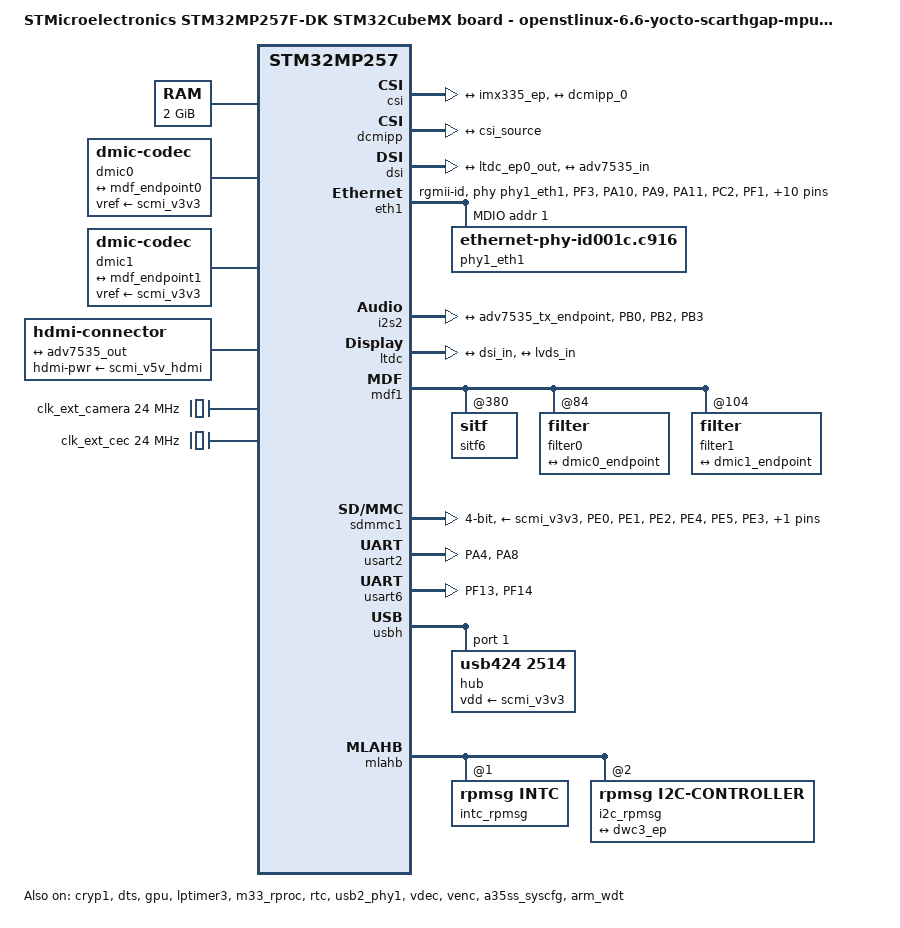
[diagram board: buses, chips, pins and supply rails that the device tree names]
// SPDX-License-Identifier: (GPL-2.0-only OR BSD-3-Clause)
/*
 * Copyright (C) 2026, STMicroelectronics - All Rights Reserved
 * Author: STM32CubeMX code generation for STMicroelectronics.
 */

/* For more information on Device Tree configuration, please refer to
 * https://wiki.st.com/stm32mpu/wiki/Category:Device_tree_configuration
 */

/dts-v1/;

#include <dt-bindings/pinctrl/stm32-pinfunc.h>
#include "stm32mp257.dtsi"
#include "stm32mp25xf.dtsi"
#include "stm32mp257f-devicetree-mx-resmem.dtsi"
#include "stm32mp25xxak-pinctrl.dtsi"

/* USER CODE BEGIN includes */
#include <dt-bindings/gpio/gpio.h>
#include <dt-bindings/input/input.h>
#include <dt-bindings/leds/common.h>
#include <dt-bindings/rtc/rtc-stm32.h>
#include "stm32mp25-pinctrl.dtsi"
/* USER CODE END includes */

/ {
	model = "STMicroelectronics STM32MP257F-DK STM32CubeMX board - openstlinux-6.6-yocto-scarthgap-mpu-v26.02.18";
	compatible = "st,stm32mp257f-devicetree-mx", "st,stm32mp257f-dk", "st,stm32mp257";

	memory@80000000 {
		device_type = "memory";
		reg = <0x0 0x80000000 0x0 0x80000000>;

		/* USER CODE BEGIN memory */
		/* USER CODE END memory */
	};

	/* USER CODE BEGIN root */

	aliases{
		serial0 = &usart2;
		serial1 = &usart6;
	};

	chosen{
		stdout-path = "serial1:115200n8";
		#address-cells = <2>;
		#size-cells = <2>;
		ranges;
	};

	dmic0:dmic-0{
		compatible = "dmic-codec";
		#sound-dai-cells = <1>;
		sound-name-prefix = "dmic0";
		vref-supply = <&scmi_v3v3>;
		status = "okay";

		port{

			dmic0_endpoint:endpoint{
				remote-endpoint = <&mdf_endpoint0>;
			};
		};
	};

	dmic1:dmic-1{
		compatible = "dmic-codec";
		#sound-dai-cells = <1>;
		sound-name-prefix = "dmic1";
		vref-supply = <&scmi_v3v3>;
		status = "okay";

		port{

			dmic1_endpoint:endpoint{
				remote-endpoint = <&mdf_endpoint1>;
			};
		};
	};

	hdmi:connector{
		compatible = "hdmi-connector";
		label = "hdmi";
		type = "a";
		hdmi-pwr-supply = <&scmi_v5v_hdmi>;

		port{

			hdmi_connector_in:endpoint{
				remote-endpoint = <&adv7535_out>;
			};
		};
	};

	sound{
		compatible = "audio-graph-card";
		label = "STM32MP25-DK";
		dais = <&i2s2_port &mdf1_port0 &mdf1_port1>;
		status = "okay";
	};

	/* USER CODE END root */

	clocks{

		/* USER CODE BEGIN clocks */

		clk_ext_camera:clk-ext-camera{
			#clock-cells = <0>;
			compatible = "fixed-clock";
			clock-frequency = <24000000>;
		};

		clk_ext_cec:clk-ext-cec{
			#clock-cells = <0>;
			compatible = "fixed-clock";
			clock-frequency = <24000000>;
		};
		/* USER CODE END clocks */
	};

}; /*root*/

&pinctrl {

	eth1_clk_pins_mx: eth1_clk_mx-0 {
		pins {
			pinmux = <STM32_PINMUX('F', 3, AF9)>; /* ETH1_CLK */
			bias-disable;
			drive-push-pull;
			slew-rate = <1>;
		};
	};

	eth1_clk_sleep_pins_mx: eth1_clk_sleep_mx-0 {
		pins {
			pinmux = <STM32_PINMUX('F', 3, ANALOG)>; /* ETH1_CLK */
		};
	};

	eth1_mdio_pins_mx: eth1_mdio_mx-0 {
		pins1 {
			pinmux = <STM32_PINMUX('A', 10, AF10)>; /* ETH1_MDIO */
			bias-disable;
			drive-push-pull;
			slew-rate = <0>;
			st,io-clk-edge = <0>;
			st,io-retime = <0>;
			st,io-delay-path = <0>;
			st,io-delay = <0>;
		};
		pins2 {
			pinmux = <STM32_PINMUX('A', 9, AF10)>; /* ETH1_MDC */
			bias-disable;
			drive-push-pull;
			slew-rate = <2>;
			st,io-clk-edge = <0>;
			st,io-retime = <0>;
			st,io-delay-path = <0>;
			st,io-delay = <0>;
		};
	};

	eth1_mdio_sleep_pins_mx: eth1_mdio_sleep_mx-0 {
		pins {
			pinmux = <STM32_PINMUX('A', 9, ANALOG)>, /* ETH1_MDC */
					 <STM32_PINMUX('A', 10, ANALOG)>; /* ETH1_MDIO */
		};
	};

	eth1_rgmii_pins_mx: eth1_rgmii_mx-0 {
		pins1 {
			pinmux = <STM32_PINMUX('A', 11, AF10)>, /* ETH1_RGMII_RX_CTL */
					 <STM32_PINMUX('C', 2, AF10)>, /* ETH1_RGMII_RXD1 */
					 <STM32_PINMUX('F', 1, AF10)>, /* ETH1_RGMII_RXD0 */
					 <STM32_PINMUX('H', 12, AF10)>, /* ETH1_RGMII_RXD2 */
					 <STM32_PINMUX('H', 13, AF10)>; /* ETH1_RGMII_RXD3 */
			bias-disable;
			drive-push-pull;
			st,io-clk-edge = <1>;
			st,io-retime = <1>;
			st,io-delay-path = <0>;
			st,io-delay = <0>;
		};
		pins2 {
			pinmux = <STM32_PINMUX('A', 13, AF10)>, /* ETH1_RGMII_TX_CTL */
					 <STM32_PINMUX('A', 15, AF10)>, /* ETH1_RGMII_TXD0 */
					 <STM32_PINMUX('C', 1, AF10)>, /* ETH1_RGMII_TXD1 */
					 <STM32_PINMUX('H', 10, AF10)>, /* ETH1_RGMII_TXD2 */
					 <STM32_PINMUX('H', 11, AF10)>; /* ETH1_RGMII_TXD3 */
			bias-disable;
			drive-push-pull;
			slew-rate = <3>;
			st,io-clk-edge = <1>;
			st,io-retime = <1>;
			st,io-delay-path = <0>;
			st,io-delay = <0>;
		};
		pins3 {
			pinmux = <STM32_PINMUX('A', 14, AF10)>; /* ETH1_RGMII_RX_CLK */
			bias-disable;
			drive-push-pull;
			slew-rate = <0>;
			st,io-clk-edge = <0>;
			st,io-retime = <0>;
			st,io-delay-path = <0>;
			st,io-delay = <0>;
		};
		pins4 {
			pinmux = <STM32_PINMUX('C', 0, AF12)>; /* ETH1_RGMII_GTX_CLK */
			bias-disable;
			drive-push-pull;
			slew-rate = <3>;
			st,io-clk-edge = <0>;
			st,io-retime = <0>;
			st,io-delay-path = <0>;
			st,io-delay = <0>;
		};
		pins5 {
			pinmux = <STM32_PINMUX('H', 9, AF10)>; /* ETH1_RGMII_CLK125 */
			bias-disable;
			drive-push-pull;
			slew-rate = <3>;
		};
	};

	eth1_rgmii_sleep_pins_mx: eth1_rgmii_sleep_mx-0 {
		pins {
			pinmux = <STM32_PINMUX('A', 11, ANALOG)>, /* ETH1_RGMII_RX_CTL */
					 <STM32_PINMUX('A', 13, ANALOG)>, /* ETH1_RGMII_TX_CTL */
					 <STM32_PINMUX('A', 14, ANALOG)>, /* ETH1_RGMII_RX_CLK */
					 <STM32_PINMUX('A', 15, ANALOG)>, /* ETH1_RGMII_TXD0 */
					 <STM32_PINMUX('C', 0, ANALOG)>, /* ETH1_RGMII_GTX_CLK */
					 <STM32_PINMUX('C', 1, ANALOG)>, /* ETH1_RGMII_TXD1 */
					 <STM32_PINMUX('C', 2, ANALOG)>, /* ETH1_RGMII_RXD1 */
					 <STM32_PINMUX('F', 1, ANALOG)>, /* ETH1_RGMII_RXD0 */
					 <STM32_PINMUX('H', 9, ANALOG)>, /* ETH1_RGMII_CLK125 */
					 <STM32_PINMUX('H', 10, ANALOG)>, /* ETH1_RGMII_TXD2 */
					 <STM32_PINMUX('H', 11, ANALOG)>, /* ETH1_RGMII_TXD3 */
					 <STM32_PINMUX('H', 12, ANALOG)>, /* ETH1_RGMII_RXD2 */
					 <STM32_PINMUX('H', 13, ANALOG)>; /* ETH1_RGMII_RXD3 */
		};
	};

	i2s2_pins_mx: i2s2_mx-0 {
		pins {
			pinmux = <STM32_PINMUX('B', 0, AF2)>, /* I2S2_CK */
					 <STM32_PINMUX('B', 2, AF2)>, /* I2S2_SDO */
					 <STM32_PINMUX('B', 3, AF2)>; /* I2S2_WS */
			bias-disable;
			drive-push-pull;
			slew-rate = <0>;
		};
	};

	i2s2_sleep_pins_mx: i2s2_sleep_mx-0 {
		pins {
			pinmux = <STM32_PINMUX('B', 0, ANALOG)>, /* I2S2_CK */
					 <STM32_PINMUX('B', 2, ANALOG)>, /* I2S2_SDO */
					 <STM32_PINMUX('B', 3, ANALOG)>; /* I2S2_WS */
		};
	};

	sdmmc1_pins_mx: sdmmc1_mx-0 {
		pins1 {
			pinmux = <STM32_PINMUX('E', 0, AF10)>, /* SDMMC1_D2 */
					 <STM32_PINMUX('E', 1, AF10)>, /* SDMMC1_D3 */
					 <STM32_PINMUX('E', 2, AF10)>, /* SDMMC1_CMD */
					 <STM32_PINMUX('E', 4, AF10)>, /* SDMMC1_D0 */
					 <STM32_PINMUX('E', 5, AF10)>; /* SDMMC1_D1 */
			bias-disable;
			drive-push-pull;
			slew-rate = <1>;
		};
		pins2 {
			pinmux = <STM32_PINMUX('E', 3, AF10)>; /* SDMMC1_CK */
			bias-disable;
			drive-push-pull;
			slew-rate = <2>;
		};
	};

	sdmmc1_opendrain_pins_mx: sdmmc1_opendrain_mx-0 {
		pins1 {
			pinmux = <STM32_PINMUX('E', 0, AF10)>, /* SDMMC1_D2 */
					 <STM32_PINMUX('E', 1, AF10)>, /* SDMMC1_D3 */
					 <STM32_PINMUX('E', 4, AF10)>, /* SDMMC1_D0 */
					 <STM32_PINMUX('E', 5, AF10)>; /* SDMMC1_D1 */
			bias-disable;
			drive-push-pull;
			slew-rate = <1>;
		};
		pins2 {
			pinmux = <STM32_PINMUX('E', 2, AF10)>; /* SDMMC1_CMD */
			bias-disable;
			drive-open-drain;
			slew-rate = <1>;
		};
		pins3 {
			pinmux = <STM32_PINMUX('E', 3, AF10)>; /* SDMMC1_CK */
			bias-disable;
			drive-push-pull;
			slew-rate = <2>;
		};
	};

	sdmmc1_sleep_pins_mx: sdmmc1_sleep_mx-0 {
		pins {
			pinmux = <STM32_PINMUX('E', 0, ANALOG)>, /* SDMMC1_D2 */
					 <STM32_PINMUX('E', 1, ANALOG)>, /* SDMMC1_D3 */
					 <STM32_PINMUX('E', 2, ANALOG)>, /* SDMMC1_CMD */
					 <STM32_PINMUX('E', 3, ANALOG)>, /* SDMMC1_CK */
					 <STM32_PINMUX('E', 4, ANALOG)>, /* SDMMC1_D0 */
					 <STM32_PINMUX('E', 5, ANALOG)>; /* SDMMC1_D1 */
		};
	};

	usart2_pins_mx: usart2_mx-0 {
		pins1 {
			pinmux = <STM32_PINMUX('A', 4, AF6)>; /* USART2_TX */
			bias-disable;
			drive-push-pull;
			slew-rate = <0>;
		};
		pins2 {
			pinmux = <STM32_PINMUX('A', 8, AF8)>; /* USART2_RX */
			bias-disable;
			drive-push-pull;
		};
	};

	usart2_idle_pins_mx: usart2_idle_mx-0 {
		pins1 {
			pinmux = <STM32_PINMUX('A', 4, ANALOG)>; /* USART2_TX */
		};
		pins2 {
			pinmux = <STM32_PINMUX('A', 8, AF8)>; /* USART2_RX */
			bias-disable;
			drive-push-pull;
		};
	};

	usart2_sleep_pins_mx: usart2_sleep_mx-0 {
		pins {
			pinmux = <STM32_PINMUX('A', 4, ANALOG)>, /* USART2_TX */
					 <STM32_PINMUX('A', 8, ANALOG)>; /* USART2_RX */
		};
	};

	usart6_pins_mx: usart6_mx-0 {
		pins1 {
			pinmux = <STM32_PINMUX('F', 13, AF3)>; /* USART6_TX */
			bias-disable;
			drive-push-pull;
			slew-rate = <0>;
		};
		pins2 {
			pinmux = <STM32_PINMUX('F', 14, AF3)>; /* USART6_RX */
			bias-disable;
			drive-push-pull;
		};
	};

	usart6_idle_pins_mx: usart6_idle_mx-0 {
		pins1 {
			pinmux = <STM32_PINMUX('F', 13, ANALOG)>; /* USART6_TX */
		};
		pins2 {
			pinmux = <STM32_PINMUX('F', 14, AF3)>; /* USART6_RX */
			bias-disable;
			drive-push-pull;
		};
	};

	usart6_sleep_pins_mx: usart6_sleep_mx-0 {
		pins {
			pinmux = <STM32_PINMUX('F', 13, ANALOG)>, /* USART6_TX */
					 <STM32_PINMUX('F', 14, ANALOG)>; /* USART6_RX */
		};
	};

	/* USER CODE BEGIN pinctrl */
	/* USER CODE END pinctrl */
};

&pinctrl_z {

	/* USER CODE BEGIN pinctrl_z */
	/* USER CODE END pinctrl_z */
};

&cryp1 {
	status = "okay";

	/* USER CODE BEGIN cryp1 */
	/* USER CODE END cryp1 */
};

&csi {
	status = "okay";

	/* USER CODE BEGIN csi */
	vdd-supply = <&scmi_vddcore>;
	vdda18-supply = <&scmi_v1v8>;

	ports{
		#address-cells = <1>;
		#size-cells = <0>;

		port@0{
			reg = <0>;

			csi_sink:endpoint{
				remote-endpoint = <&imx335_ep>;
				data-lanes = <1 2>;
				bus-type = <4>;
			};
		};

		port@1{
			reg = <1>;

			csi_source:endpoint{
				remote-endpoint = <&dcmipp_0>;
			};
		};
	};
	/* USER CODE END csi */
};

&dcmipp {
	status = "okay";

	/* USER CODE BEGIN dcmipp */

	port{

		dcmipp_0:endpoint{
			remote-endpoint = <&csi_source>;
			bus-type = <4>;
		};
	};
	/* USER CODE END dcmipp */
};

&dsi {
	status = "okay";

	/* USER CODE BEGIN dsi */
	vdd-supply = <&scmi_vddcore>;
	vdda18-supply = <&scmi_v1v8>;

	ports{
		#address-cells = <1>;
		#size-cells = <0>;

		port@0{
			reg = <0>;

			dsi_in:endpoint{
				remote-endpoint = <&ltdc_ep0_out>;
			};
		};

		port@1{
			reg = <1>;

			dsi_out1:endpoint{
				remote-endpoint = <&adv7535_in>;
			};
		};
	};
	/* USER CODE END dsi */
};

&dts {
	status = "okay";

	/* USER CODE BEGIN dts */
	/* USER CODE END dts */
};

&eth1 {
	pinctrl-names = "default", "sleep";
	pinctrl-0 = <&eth1_clk_pins_mx>, <&eth1_mdio_pins_mx>, <&eth1_rgmii_pins_mx>;
	pinctrl-1 = <&eth1_clk_sleep_pins_mx>, <&eth1_mdio_sleep_pins_mx>, <&eth1_rgmii_sleep_pins_mx>;
	status = "okay";

	/* USER CODE BEGIN eth1 */
	phy-mode = "rgmii-id";
	max-speed = <1000>;
	phy-handle = <&phy1_eth1>;
	st,eth-ptp-from-rcc;

	mdio1{
		#address-cells = <1>;
		#size-cells = <0>;
		compatible = "snps,dwmac-mdio";

		phy1_eth1:ethernet-phy@1{
			compatible = "ethernet-phy-id001c.c916";
			/*reset-gpios = <&gpioa 2 GPIO_ACTIVE_LOW>; EJ IMPLEMENTERAT */
			reset-assert-us = <10000>;
			reset-deassert-us = <80000>;
			realtek,eee-disable;
			reg = <1>;
		};
	};
	/* USER CODE END eth1 */
};

&gpu {
	status = "okay";

	/* USER CODE BEGIN gpu */
	contiguous-area = <&gpu_reserved>;
	/* USER CODE END gpu */
};

&hpdma {
	status = "okay";

	/* USER CODE BEGIN hpdma */
	memory-region = <&hpdma1_lli>;
	/* USER CODE END hpdma */
};

&hpdma2 {
	status = "okay";

	/* USER CODE BEGIN hpdma2 */
	memory-region = <&hpdma2_lli>;
	/* USER CODE END hpdma2 */
};

&hpdma3 {
	status = "okay";

	/* USER CODE BEGIN hpdma3 */
	memory-region = <&hpdma3_lli>;
	/* USER CODE END hpdma3 */
};

&i2s2 {
	pinctrl-names = "default", "sleep";
	pinctrl-0 = <&i2s2_pins_mx>;
	pinctrl-1 = <&i2s2_sleep_pins_mx>;
	status = "okay";

	/* USER CODE BEGIN i2s2 */

	i2s2_port:port{

		i2s2_endpoint:endpoint{
			remote-endpoint = <&adv7535_tx_endpoint>;
			format = "i2s";
			mclk-fs = <256>;
		};
	};
	/* USER CODE END i2s2 */
};

&ipcc1 {
	status = "okay";

	/* USER CODE BEGIN ipcc1 */
	/* USER CODE END ipcc1 */
};

&lptimer3 {
	status = "okay";

	/* USER CODE BEGIN lptimer3 */
	clocks = <&rcc CK_LPTIM3_AM>;

	timer{
		status = "okay";
	};
	/* USER CODE END lptimer3 */
};

&ltdc {
	status = "okay";

	/* USER CODE BEGIN ltdc */
	port{
		#address-cells = <1>;
		#size-cells = <0>;

		ltdc_ep0_out:endpoint@0{
			reg = <0>;
			remote-endpoint = <&dsi_in>;
		};

		ltdc_ep1_out:endpoint@1{
			reg = <1>;
			remote-endpoint = <&lvds_in>;
		};
	};
	/* USER CODE END ltdc */
};

&m33_rproc {
	status = "okay";

	/*Restriction: "memory-region" property is not managed - please to use User-Section if needed*/
	mboxes = <&ipcc1 0x100>, <&ipcc1 0x101>, <&ipcc1 2>;
	mbox-names = "vq0", "vq1", "shutdown";

	/* USER CODE BEGIN m33_rproc */
	compatible = "st,stm32mp2-m33-tee";
	memory-region = <&ipc_shmem_1>, <&vdev0vring0>,
			<&vdev0vring1>, <&vdev0buffer>,
			<&cm33_sram2>;
	/* USER CODE END m33_rproc */
};

&mdf1 {
	status = "okay";

	/* USER CODE BEGIN mdf1 */
	#clock-cells = <1>;
	clock-output-names = "cck0";
	clock-frequency = <1536000>;

	sitf6:sitf@380{
		pinctrl-names = "default", "sleep";
		pinctrl-0 = <&mdf_sdi6_pins_a>;
		pinctrl-1 = <&mdf_sdi6_sleep_pins_a>;
		st,sitf-mode = "spi";
		clocks = <&mdf1 0>;
		status = "okay";
	};

	filter0:filter@84{
		#address-cells = <1>;
		#size-cells = <0>;
		st,cic-mode = <4>;
		st,sitf = <&sitf6 0>;
		st,hpf-filter-cutoff-bp = <625>;
		status = "okay";

		channel@0{
			reg = <0>;
			label = "dmic_u53";
		};

		asoc_pdm0:mdf-dai{
			compatible = "st,stm32mp25-mdf-dai";
			#sound-dai-cells = <0>;
			io-channels = <&filter0 0>;
			power-domains = <&d1_pd>;
			status = "okay";

			mdf1_port0:port{

				mdf_endpoint0:endpoint{
					remote-endpoint = <&dmic0_endpoint>;
				};
			};
		};
	};

	filter1:filter@104{
		#address-cells = <1>;
		#size-cells = <0>;
		st,cic-mode = <4>;
		st,sitf = <&sitf6 1>;
		st,hpf-filter-cutoff-bp = <625>;
		status = "okay";

		channel@1{
			reg = <1>;
			label = "dmic_u12";
		};

		asoc_pdm1:mdf-dai{
			compatible = "st,stm32mp25-mdf-dai";
			#sound-dai-cells = <0>;
			io-channels = <&filter1 0>;
			power-domains = <&d1_pd>;
			status = "okay";

			mdf1_port1:port{

				mdf_endpoint1:endpoint{
					remote-endpoint = <&dmic1_endpoint>;
				};
			};
		};
	};
	/* USER CODE END mdf1 */
};

&rtc {
	status = "okay";

	/* USER CODE BEGIN rtc */
	#clock-cells = <0>;
	st,lsco = <RTC_OUT2_RMP>;
	/* USER CODE END rtc */
};

&sdmmc1 {
	pinctrl-names = "default", "opendrain", "sleep";
	pinctrl-0 = <&sdmmc1_pins_mx>;
	pinctrl-1 = <&sdmmc1_opendrain_pins_mx>;
	pinctrl-2 = <&sdmmc1_sleep_pins_mx>;
	status = "okay";

	/* USER CODE BEGIN sdmmc1 */
	cd-gpios = <&gpiod 3 (GPIO_ACTIVE_LOW | GPIO_PULL_UP)>;
	disable-wp;
	st,neg-edge;
	bus-width = <4>;
	vmmc-supply = <&scmi_v3v3>;
	vqmmc-supply = <&scmi_vddio1>;
	sd-uhs-sdr12;
	sd-uhs-sdr25;
	sd-uhs-sdr50;
	sd-uhs-ddr50;
	sd-uhs-sdr104;
	/* USER CODE END sdmmc1 */
};

&usart2 {
	pinctrl-names = "default", "idle", "sleep";
	pinctrl-0 = <&usart2_pins_mx>;
	pinctrl-1 = <&usart2_idle_pins_mx>;
	pinctrl-2 = <&usart2_sleep_pins_mx>;
	status = "okay";

	/* USER CODE BEGIN usart2 */
	/delete-property/ dmas;
	/delete-property/ dma-names;
	/* USER CODE END usart2 */
};

&usart6 {
	pinctrl-names = "default", "idle", "sleep";
	pinctrl-0 = <&usart6_pins_mx>;
	pinctrl-1 = <&usart6_idle_pins_mx>;
	pinctrl-2 = <&usart6_sleep_pins_mx>;
	status = "okay";

	/* USER CODE BEGIN usart6 */
    /delete-property/dmas;
	/delete-property/dma-names;
	/* USER CODE END usart6 */
};

&usb2_phy1 {
	status = "okay";

	/* USER CODE BEGIN usb2_phy1 */
	vdd33-supply = <&scmi_vdd3v3_usb>;
	/* USER CODE END usb2_phy1 */
};

&usbh {
	status = "okay";

	/* USER CODE BEGIN usbh */

	usbh_ehci:usb@482f0000{
		#address-cells = <1>;
		#size-cells = <0>;

		hub@1{
			compatible = "usb424,2514";
			reg = <1>;
			vdd-supply = <&scmi_v3v3>;
		};
	};
	/* USER CODE END usbh */
};

&vdec {
	status = "okay";

	/* USER CODE BEGIN vdec */
	/* USER CODE END vdec */
};

&venc {
	status = "okay";

	/* USER CODE BEGIN venc */
	/* USER CODE END venc */
};

/* USER CODE BEGIN addons */

&a35ss_syscfg {
	status = "okay";
};

&ahbsr {
	mbox_client: mailbox-client@1 {
		compatible = "mbox-cdev";
		reg = <1 0>;
		memory-region =  <&ipc_shmem_2>;
		mboxes = <&ipcc2 0x200>;
		mbox-names = "rx-tx";
		status = "okay";
	};
};

&arm_wdt {
	timeout-sec = <32>;
	status = "okay";
};

&ipcc2 {
	status = "okay";
};

&mlahb {

	intc_rpmsg:interrupt-controller@1{
		compatible = "rpmsg,intc";
		reg = <1 0>;
		#interrupt-cells = <1>;
		interrupt-controller;
	};

	i2c_rpmsg:i2c@2{
		compatible = "rpmsg,i2c-controller";
		reg = <2 0>;
		rpmsg,dev-id = "rpmsg_i2c";
		#address-cells = <1>;
		#size-cells = <0>;
		status = "okay";

		typec@35{
			compatible = "st,stm32mp25-typec";
			reg = <0x35>;
			interrupts-extended = <&intc_rpmsg 0>;
			status = "okay";

			connector{
				compatible = "usb-c-connector";
				label = "USB-C";

				port{

					typec_ep:endpoint{
						remote-endpoint = <&dwc3_ep>;
					};
				};
			};
		};
	};
};

&m0_rproc {
	memory-region = <&cm0_cube_fw>, <&cm0_cube_data>;
	clocks = <&rcc CK_CPU3>,
		 <&rcc CK_CPU3_AM>,
		 <&rcc CK_LPUART1_C3>,
		 <&rcc CK_KER_LPUART1>,
		 <&rcc CK_LPUART1_AM>,
		 <&rcc CK_GPIOZ_C3>,
		 <&scmi_clk CK_SCMI_GPIOZ>,
		 <&scmi_clk CK_SCMI_GPIOZ_AM>,
		 <&rcc CK_LPTIM4_C3>,
		 <&rcc CK_KER_LPTIM4>,
		 <&rcc CK_LPTIM4_AM>,
		 <&scmi_clk CK_SCMI_IPCC2>,
		 <&scmi_clk CK_SCMI_IPCC2_AM>;
	status = "disabled";
};

&scmi_regu {
	scmi_vddio1: regulator@0 {
		regulator-min-microvolt = <1800000>;
		regulator-max-microvolt = <3300000>;
	};
	scmi_vddcore: regulator@b {
		reg = <VOLTD_SCMI_STPMIC2_BUCK2>;
		regulator-name = "vddcore";
	};
	scmi_v1v8: regulator@e {
		reg = <VOLTD_SCMI_STPMIC2_BUCK5>;
		regulator-name = "v1v8";
	};
	scmi_v3v3: regulator@10 {
		reg = <VOLTD_SCMI_STPMIC2_BUCK7>;
		regulator-name = "v3v3";
	};
	scmi_vdd_emmc: regulator@12 {
		reg = <VOLTD_SCMI_STPMIC2_LDO2>;
		regulator-name = "vdd_emmc";
	};
	scmi_vdd3v3_usb: regulator@14 {
		reg = <VOLTD_SCMI_STPMIC2_LDO4>;
		regulator-name = "vdd3v3_usb";
	};
	scmi_v5v_hdmi: regulator@15 {
		reg = <VOLTD_SCMI_STPMIC2_LDO5>;
		regulator-name = "v5v_hdmi";
	};
	scmi_v5v_vconn: regulator@16 {
		reg = <VOLTD_SCMI_STPMIC2_LDO6>;
		regulator-name = "v5v_vconn";
	};
	scmi_vdd_sdcard: regulator@17 {
		reg = <VOLTD_SCMI_STPMIC2_LDO7>;
		regulator-name = "vdd_sdcard";
	};
};

&usart2_pins_mx{
 	bootph-all;

  	pins1{
 		bootph-all;
  	};

  	pins2{
 		bootph-all;
  	};
};
/* USER CODE END addons */

